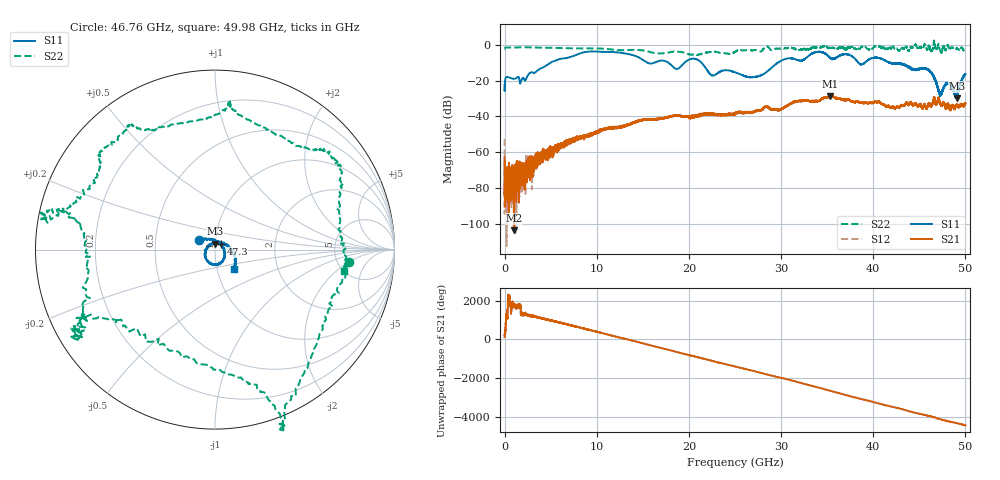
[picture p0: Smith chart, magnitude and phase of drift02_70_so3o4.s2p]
!Created with skrf (http://scikit-rf.org).
# Hz S RI R 50.0
!freq ReS11 ImS11 ReS21 ImS21 ReS12 ImS12 ReS22 ImS22
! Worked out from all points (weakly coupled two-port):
!   10001 points, 300 kHz to 50 GHz, reference 50 ohm
!   highest |S21| = -28.55 dB at 35.32 GHz (marker M1); lowest = -103.7 dB at 1.01 GHz (marker M2)
!   lowest |S11| = -29.8 dB at 49.09 GHz (marker M3), VSWR 1.07, Z = 50 + j3.22 ohm
!   |S11| at or under -10 dB: start of sweep to 4.954 GHz; 21.38 GHz to 29.63 GHz (8.255 GHz wide, 32.4 % of centre); 41.88 GHz to end of sweep (the widest 3 of 11)
!   |S22| runs from -5.7 to 2.5 dB; largest |S21 - S12| = 0.004
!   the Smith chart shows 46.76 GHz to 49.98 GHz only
!   S11 on the Smith chart (normalised r, x): 46.76 GHz: 0.83, +0.09; 47.3 GHz: 1.06, +0.07; 49.98 GHz: 1.20, -0.27
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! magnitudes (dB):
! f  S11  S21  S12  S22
! 300 kHz  -22.1  -62.8  -52.6  -2.1
! 255.3 MHz  -17.9  -73.0  -81.0  -1.4
! 1.01 GHz  -18.9  -103.7  -69.4  -1.5
! 8.335 GHz  -4.5  -51.9  -51.4  -1.9
! 16.67 GHz  -9.1  -41.6  -41.3  -4.7
! 18.7 GHz  -13.5  -39.5  -39.5  -3.7
! 20.6 GHz  -7.7  -40.5  -39.7  -5.7
! 22.51 GHz  -17.1  -39.0  -39.0  -3.7
! 25 GHz  -15.3  -38.3  -38.2  -3.9
! 27.5 GHz  -17.6  -36.6  -36.6  -3.2
! 30.22 GHz  -8.3  -35.6  -35.1  -2.1
! 32.24 GHz  -8.7  -31.1  -31.6  -2.6
! 33.34 GHz  -4.9  -31.5  -31.2  -1.6
! 35.32 GHz  -7.2  -28.5  -28.8  -1.4
! 41.67 GHz  -9.7  -34.1  -34.3  -1.8
! 45.78 GHz  -13.3  -35.3  -35.5  -1.9
! 46.76 GHz  -19.8  -32.8  -32.8  -2.5
! 47.3 GHz  -26.8  -33.0  -33.1  -3.5
! 48.11 GHz  -21.5  -32.7  -33.3  -0.5
! 49.09 GHz  -29.8  -33.7  -34.0  -1.7
! 49.98 GHz  -16.4  -33.0  -33.1  -2.8
! 50 GHz  -16.4  -32.5  -33.1  -2.8
